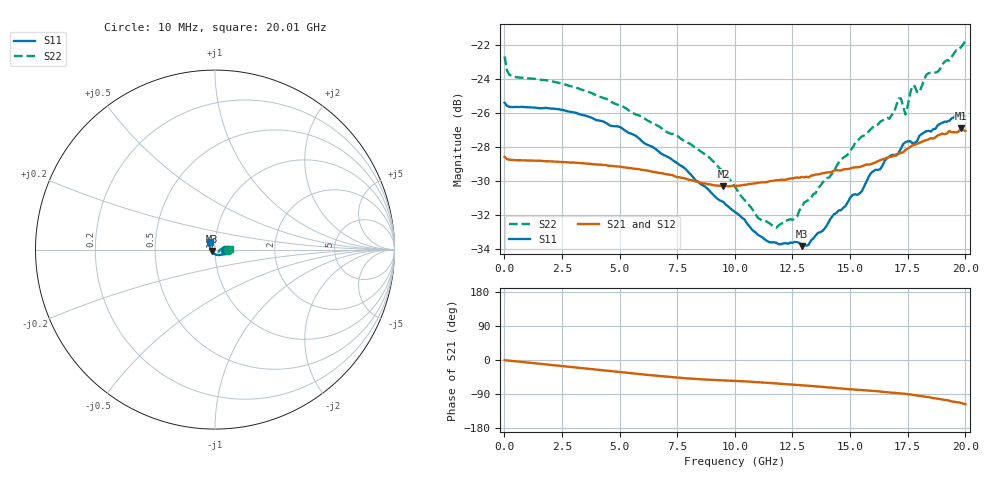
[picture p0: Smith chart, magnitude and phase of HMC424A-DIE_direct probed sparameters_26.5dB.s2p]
!s2p File: Measurements: S11, S21, S12, S22
# GHz S dB R 50.0
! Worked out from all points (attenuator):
!   201 points, 10 MHz to 20.01 GHz, reference 50 ohm
!   highest |S21| = -26.89 dB at 19.81 GHz (marker M1); lowest = -30.3 dB at 9.51 GHz (marker M2)
!   lowest |S11| = -33.8 dB at 12.91 GHz (marker M3), VSWR 1.04, Z = 48.2 - j0.793 ohm
!   |S11| at or under -10 dB: start of sweep to end of sweep
!   |S22| runs from -32.7 to -21.7 dB; largest |S21 - S12| = 0.0005
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0.01  -25.38 -0.1  -28.56 -0.5  -28.56 -0.3  -22.65 -1.8
0.11  -25.55 -1.5  -28.69 -1.3  -28.68 -1.3  -23.47 -4.2
0.31  -25.63 -2.4  -28.74 -2.3  -28.74 -2.3  -23.79 -4.0
3.41  -26.11 -23.9  -28.94 -21.9  -28.94 -21.9  -24.63 -22.4
5.01  -26.80 -37.1  -29.14 -31.8  -29.14 -31.8  -25.54 -31.0
6.71  -28.27 -51.8  -29.51 -42.0  -29.50 -42.0  -26.77 -37.3
9.51  -31.22 -84.4  -30.29 -53.8  -30.28 -53.7  -29.49 -44.0
10.01  -31.81 -92.0  -30.27 -55.2  -30.28 -55.2  -30.31 -43.2
11.01  -33.16 -111.3  -30.09 -58.6  -30.10 -58.5  -32.16 -33.7
11.81  -33.62 -129.2  -29.94 -62.0  -29.93 -61.9  -32.73 -20.9
12.91  -33.82 -156.2  -29.74 -67.0  -29.73 -67.0  -31.54 -5.2
13.41  -33.36 -167.9  -29.65 -68.8  -29.65 -68.8  -30.75 -0.9
15.51  -30.60 154.2  -29.12 -79.3  -29.09 -79.1  -27.36 4.7
15.91  -29.52 148.6  -28.99 -81.4  -28.99 -81.3  -26.92 5.0
16.71  -28.54 138.4  -28.57 -85.6  -28.54 -85.6  -26.32 4.7
17.11  -28.32 136.5  -28.39 -87.8  -28.31 -88.0  -25.13 5.4
17.41  -27.70 133.3  -28.15 -89.3  -28.16 -89.7  -26.07 3.9
17.71  -27.75 129.3  -27.88 -91.9  -27.93 -92.1  -24.36 5.4
18.01  -27.33 128.0  -27.74 -94.6  -27.79 -94.4  -24.77 4.7
18.31  -27.05 124.1  -27.58 -97.4  -27.60 -97.2  -23.74 5.9
19.81  -26.09 119.7  -26.89 -113.1  -26.90 -113.0  -22.12 1.9
20.01  -26.14 121.7  -27.04 -116.5  -27.01 -116.4  -21.71 1.6
